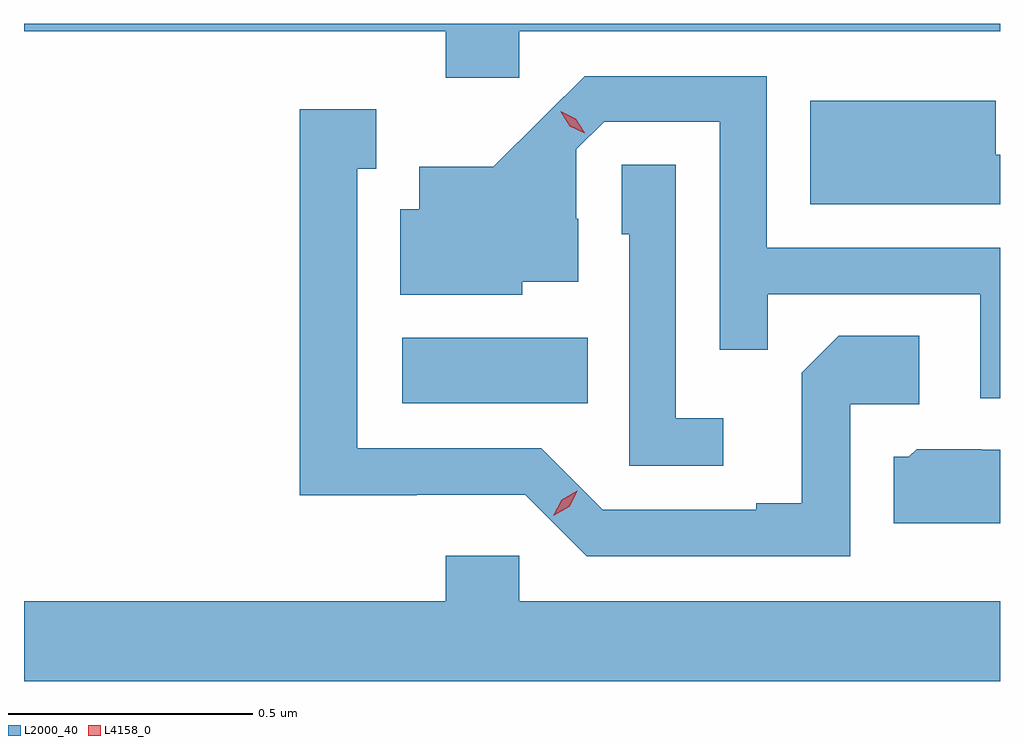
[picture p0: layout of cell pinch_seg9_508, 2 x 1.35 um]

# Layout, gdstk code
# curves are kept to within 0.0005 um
import gdstk
lib = gdstk.Library(unit=1e-6, precision=1e-09)
def R(c, l, rs):  # rectangles x0, y0, x1, y1
    for r in rs: c.add(gdstk.rectangle(r[:2], r[2:], *l))
def P(c, l, *ps):  # polygons
    for p in ps: c.add(gdstk.Polygon(p, *l))
L2000_40 = (2000, 40)
L4158_0 = (4158, 0)

pinch_seg9_508 = lib.new_cell('pinch_seg9_508')
R(pinch_seg9_508, L2000_40, [(298.326,1195.658,298.706,1195.792)])
P(pinch_seg9_508, L2000_40, [(298.566,1196.42),(299.551,1196.42),(299.551,1196.436),(297.551,1196.436),(297.551,1196.42),(298.415,1196.42),(298.415,1196.325),(298.566,1196.325)],
  [(299.551,1195.977),(299.073,1195.977),(299.073,1196.328),(298.7,1196.328),(298.513,1196.143),(298.361,1196.143),(298.361,1196.056),(298.322,1196.056),(298.322,1195.88),(298.572,1195.88),(298.572,1195.907),(298.687,1195.907),(298.687,1196.036),(298.683,1196.036),(298.683,1196.178),(298.74,1196.235),(298.977,1196.235),(298.977,1195.768),(299.075,1195.768),(299.075,1195.881),(299.511,1195.881),(299.511,1195.668),(299.551,1195.668)],
  [(299.551,1196.167),(299.542,1196.167),(299.542,1196.278),(299.162,1196.278),(299.162,1196.066),(299.551,1196.066)],
  [(299.244,1195.656),(299.386,1195.656),(299.386,1195.796),(299.221,1195.796),(299.145,1195.72),(299.145,1195.453),(299.051,1195.453),(299.051,1195.44),(298.737,1195.44),(298.611,1195.566),(298.234,1195.566),(298.234,1196.139),(298.273,1196.139),(298.273,1196.26),(298.116,1196.26),(298.116,1195.469),(298.356,1195.469),(298.356,1195.47),(298.578,1195.47),(298.704,1195.344),(299.244,1195.344)],
  [(298.984,1195.627),(298.887,1195.627),(298.887,1196.147),(298.776,1196.147),(298.776,1196.004),(298.791,1196.004),(298.791,1195.53),(298.984,1195.53)],
  [(299.551,1195.563),(299.514,1195.563),(299.514,1195.564),(299.38,1195.564),(299.364,1195.548),(299.333,1195.548),(299.333,1195.412),(299.551,1195.412)],
  [(299.551,1195.252),(298.566,1195.252),(298.566,1195.345),(298.415,1195.345),(298.415,1195.252),(297.551,1195.252),(297.551,1195.088),(299.551,1195.088)])
P(pinch_seg9_508, L4158_0, [(298.7,1196.211),(298.669,1196.226),(298.651,1196.255),(298.651,1196.256),(298.651,1196.256),(298.682,1196.241),(298.7,1196.212),(298.7,1196.211)],
  [(298.636,1195.427),(298.636,1195.427),(298.653,1195.46),(298.685,1195.479),(298.685,1195.479),(298.685,1195.478),(298.668,1195.446),(298.636,1195.427)])

lib.write_gds('pinch_seg9_508.gds')
